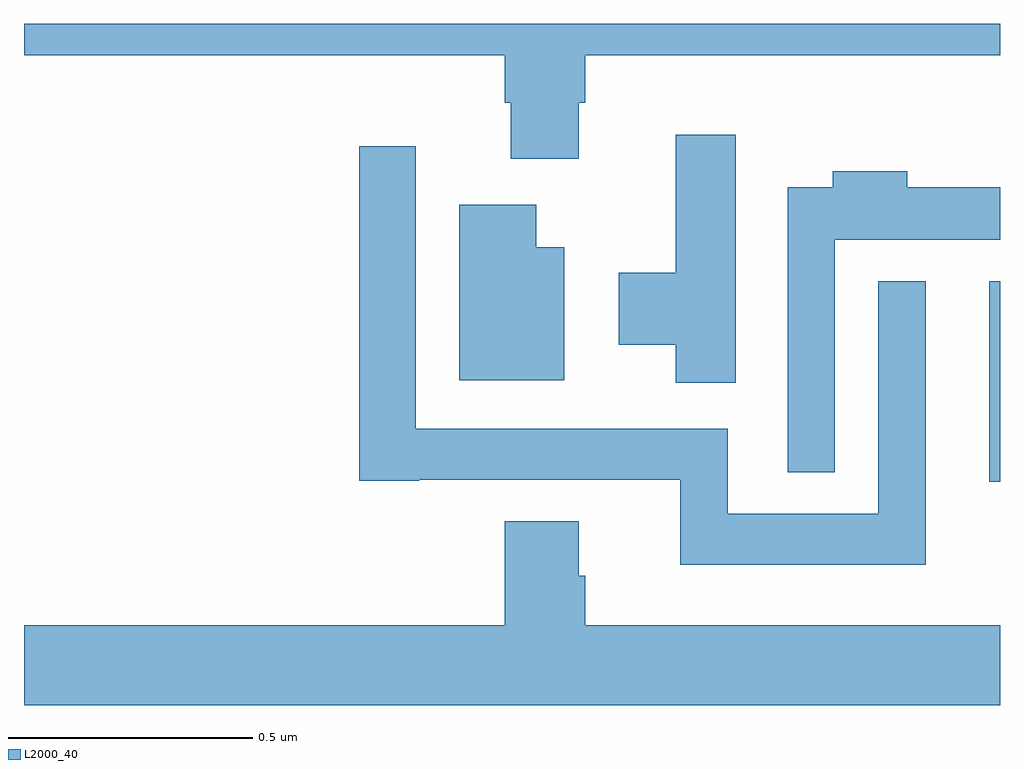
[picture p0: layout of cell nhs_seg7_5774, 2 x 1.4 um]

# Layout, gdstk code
import gdstk
lib = gdstk.Library(unit=1e-6, precision=1e-09)
def R(c, l, rs):  # rectangles x0, y0, x1, y1
    for r in rs: c.add(gdstk.rectangle(r[:2], r[2:], *l))
def P(c, l, *ps):  # polygons
    for p in ps: c.add(gdstk.Polygon(p, *l))
L2000_40 = (2000, 40)

nhs_seg7_5774 = lib.new_cell('nhs_seg7_5774')
R(nhs_seg7_5774, L2000_40, [(191.978,1013.062,192,1013.473)])
P(nhs_seg7_5774, L2000_40, [(191.137,1013.838),(191.15,1013.838),(191.15,1013.936),(192,1013.936),(192,1014),(190,1014),(190,1013.936),(190.985,1013.936),(190.985,1013.838),(190.997,1013.838),(190.997,1013.724),(191.137,1013.724)],
  [(191.458,1013.773),(191.336,1013.773),(191.336,1013.49),(191.219,1013.49),(191.219,1013.342),(191.336,1013.342),(191.336,1013.265),(191.458,1013.265)],
  [(191.848,1013.473),(191.751,1013.473),(191.751,1012.996),(191.442,1012.996),(191.442,1013.17),(190.803,1013.17),(190.803,1013.749),(190.687,1013.749),(190.687,1013.064),(190.81,1013.064),(190.81,1013.066),(191.345,1013.066),(191.345,1012.892),(191.848,1012.892)],
  [(191.661,1013.558),(192,1013.558),(192,1013.665),(191.81,1013.665),(191.81,1013.698),(191.657,1013.698),(191.657,1013.665),(191.565,1013.665),(191.565,1013.081),(191.661,1013.081)],
  [(191.107,1013.542),(191.05,1013.542),(191.05,1013.629),(190.892,1013.629),(190.892,1013.27),(191.107,1013.27)],
  [(192,1012.768),(191.15,1012.768),(191.15,1012.869),(191.137,1012.869),(191.137,1012.981),(190.985,1012.981),(190.985,1012.768),(190,1012.768),(190,1012.604),(192,1012.604)])

lib.write_gds('nhs_seg7_5774.gds')
